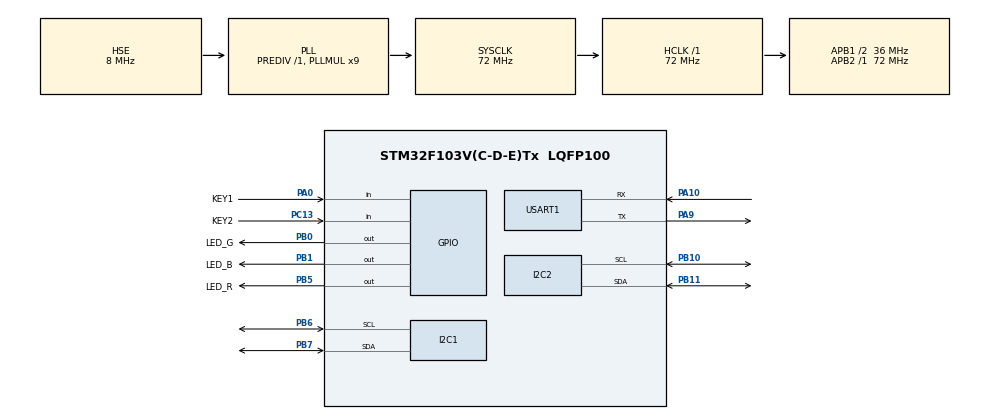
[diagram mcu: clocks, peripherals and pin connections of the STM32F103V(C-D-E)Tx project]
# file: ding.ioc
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Mcu.Family=STM32F1
Mcu.Name=STM32F103V(C-D-E)Tx
Mcu.Package=LQFP100
NVIC.PriorityGroup=NVIC_PRIORITYGROUP_4
NVIC.TIM2_IRQn=true\:0\:0\:false\:false\:true\:false\:true
NVIC.TIM3_IRQn=true\:2\:0\:true\:false\:true\:true\:true
NVIC.TimeBase=TIM2_IRQn
NVIC.TimeBaseIP=TIM2
NVIC.USART1_IRQn=true\:5\:0\:true\:false\:true\:true\:true
OSC_IN.Mode=HSE-External-Oscillator
OSC_IN.Signal=RCC_OSC_IN
OSC_OUT.Mode=HSE-External-Oscillator
OSC_OUT.Signal=RCC_OSC_OUT
PA0-WKUP.GPIO_Label=KEY1
PA0-WKUP.Signal=GPIO_Input
PA10.Mode=Asynchronous
PA10.Signal=USART1_RX
PA13.Mode=Serial_Wire
PA13.Signal=SYS_JTMS-SWDIO
PA14.Mode=Serial_Wire
PA14.Signal=SYS_JTCK-SWCLK
PA9.Mode=Asynchronous
PA9.Signal=USART1_TX
PB0.GPIO_Label=LED_G
PB0.GPIO_Speed=GPIO_SPEED_FREQ_HIGH
PB0.PinState=GPIO_PIN_SET
PB0.Signal=GPIO_Output
PB1.GPIO_Label=LED_B
PB1.GPIO_Speed=GPIO_SPEED_FREQ_HIGH
PB1.PinState=GPIO_PIN_SET
PB1.Signal=GPIO_Output
PB10.Mode=I2C
PB10.Signal=I2C2_SCL
PB11.Mode=I2C
PB11.Signal=I2C2_SDA
PB5.GPIO_Label=LED_R
PB5.GPIO_Speed=GPIO_SPEED_FREQ_HIGH
PB5.PinState=GPIO_PIN_SET
PB5.Signal=GPIO_Output
PB6.Mode=I2C
PB6.Signal=I2C1_SCL
PB7.Mode=I2C
PB7.Signal=I2C1_SDA
PC13-TAMPER-RTC.GPIO_Label=KEY2
PC13-TAMPER-RTC.Signal=GPIO_Input
ProjectManager.HeapSize=0x0
ProjectManager.StackSize=0x400
ProjectManager.TargetToolchain=MDK-ARM V5
RCC.AHBFreq_Value=72000000
RCC.APB1CLKDivider=RCC_HCLK_DIV2
RCC.APB1Freq_Value=36000000
RCC.APB1TimFreq_Value=72000000
RCC.APB2Freq_Value=72000000
RCC.APB2TimFreq_Value=72000000
RCC.HCLKFreq_Value=72000000
RCC.PLLMUL=RCC_PLL_MUL9
RCC.PLLSourceVirtual=RCC_PLLSOURCE_HSE
RCC.SYSCLKFreq_VALUE=72000000
RCC.SYSCLKSource=RCC_SYSCLKSOURCE_PLLCLK
RCC.USBFreq_Value=72000000
TIM3.AutoReloadPreload=TIM_AUTORELOAD_PRELOAD_ENABLE
TIM3.Period=99
TIM3.Prescaler=71
USART1.VirtualMode=VM_ASYNC
VP_SYS_VS_tim2.Mode=TIM2
VP_TIM3_VS_ClockSourceINT.Mode=Internal
board=custom

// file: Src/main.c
/* USER CODE BEGIN Header */
/**
  ******************************************************************************
  * @file           : main.c
  * @brief          : Main program body
  ******************************************************************************
  * @attention
  *
  * <h2><center>&copy; Copyright (c) 2020 STMicroelectronics.
  * All rights reserved.</center></h2>
  *
  * This software component is licensed by ST under BSD 3-Clause license,
  * the "License"; You may not use this file except in compliance with the
  * License. You may obtain a copy of the License at:
  *                        opensource.org/licenses/BSD-3-Clause
  *
  ******************************************************************************
  */
/* USER CODE END Header */

#include "main.h"
#include "i2c.h"
#include "tim.h"
#include "usart.h"
#include "gpio.h"

/* USER CODE BEGIN Includes */
#include "bsp_led.h"
#include "bsp_key.h"
#include "bsp_usart.h"

#include "FreeRTOS.h"
#include "task.h"

/* USER CODE END Includes */

/* USER CODE BEGIN PV */
__IO uint64_t time_counter = 0;

/* USER CODE END PV */

void SystemClock_Config(void);
/* USER CODE BEGIN PFP */
void start_task(void *pvParameters);
void led_task(void *pvParameters);
void print_task(void *pvParameters);
void run_time_task(void *pvParameters);

/* USER CODE END PFP */

/* USER CODE BEGIN 0 */
#define START_TASK_SIZE 128
#define START_TASK_PRIO 1
TaskHandle_t Start_Task_Handle;

#define LED_TASK_SIZE 128
#define LED_TASK_PRIO 2
TaskHandle_t led_task_Handle;

#define PRINT_TASK_SIZE 128
#define PRINT_TASK_PRIO 3
TaskHandle_t print_task_Handle;

#define RUNTIME_TASK_SIZE 256
#define RUNTIME_TASK_PRIO 4
TaskHandle_t runtime_task_Handle;

/* USER CODE END 0 */

int main(void)
{

  /* MCU Configuration--------------------------------------------------------*/

  /* Reset of all peripherals, Initializes the Flash interface and the Systick. */
  HAL_Init();

  /* Configure the system clock */
  SystemClock_Config();

  /* Initialize all configured peripherals */
  MX_GPIO_Init();
  MX_USART1_UART_Init();
  MX_I2C1_Init();
  MX_I2C2_Init();
  MX_TIM3_Init();
  /* USER CODE BEGIN 2 */

  // 创建开始任务
  xTaskCreate((TaskFunction_t)start_task,
              (char *)"start_task",
              (uint16_t)START_TASK_SIZE,
              (void *)NULL,
              (UBaseType_t)START_TASK_PRIO,
              (TaskHandle_t *)&Start_Task_Handle);

  vTaskStartScheduler(); // 开启调度器

  /* USER CODE END 2 */

  /* Infinite loop */
  while (1)
  {

  }
}

void SystemClock_Config(void)
{
  RCC_OscInitTypeDef RCC_OscInitStruct = {0};
  RCC_ClkInitTypeDef RCC_ClkInitStruct = {0};

  /** Initializes the CPU, AHB and APB busses clocks
  */
  RCC_OscInitStruct.OscillatorType = RCC_OSCILLATORTYPE_HSE;
  RCC_OscInitStruct.HSEState = RCC_HSE_ON;
  RCC_OscInitStruct.HSEPredivValue = RCC_HSE_PREDIV_DIV1;
  RCC_OscInitStruct.HSIState = RCC_HSI_ON;
  RCC_OscInitStruct.PLL.PLLState = RCC_PLL_ON;
  RCC_OscInitStruct.PLL.PLLSource = RCC_PLLSOURCE_HSE;
  RCC_OscInitStruct.PLL.PLLMUL = RCC_PLL_MUL9;
  if (HAL_RCC_OscConfig(&RCC_OscInitStruct) != HAL_OK)
  {
    Error_Handler();
  }
  /** Initializes the CPU, AHB and APB busses clocks
  */
  RCC_ClkInitStruct.ClockType = RCC_CLOCKTYPE_HCLK|RCC_CLOCKTYPE_SYSCLK
                              |RCC_CLOCKTYPE_PCLK1|RCC_CLOCKTYPE_PCLK2;
  RCC_ClkInitStruct.SYSCLKSource = RCC_SYSCLKSOURCE_PLLCLK;
  RCC_ClkInitStruct.AHBCLKDivider = RCC_SYSCLK_DIV1;
  RCC_ClkInitStruct.APB1CLKDivider = RCC_HCLK_DIV2;
  RCC_ClkInitStruct.APB2CLKDivider = RCC_HCLK_DIV1;

  if (HAL_RCC_ClockConfig(&RCC_ClkInitStruct, FLASH_LATENCY_2) != HAL_OK)
  {
    Error_Handler();
  }
}

/* USER CODE BEGIN 4 */

void start_task(void *pvParameters)
{
  // 创建led任务
  xTaskCreate((TaskFunction_t)led_task,
              (char *)"led_task",
              (uint16_t)LED_TASK_SIZE,
              (void *)NULL,
              (UBaseType_t)LED_TASK_PRIO,
              (TaskHandle_t *)&led_task_Handle);
  // 创建打印任务
  xTaskCreate((TaskFunction_t)print_task,
              (char *)"print_task",
              (uint16_t)PRINT_TASK_SIZE,
              (void *)NULL,
              (UBaseType_t)PRINT_TASK_PRIO,
              (TaskHandle_t *)&print_task_Handle);
  // 创建运行时间查询任务
  xTaskCreate((TaskFunction_t)run_time_task,
              (char *)"run_time_task",
              (uint16_t)RUNTIME_TASK_SIZE,
              (void *)NULL,
              (UBaseType_t)RUNTIME_TASK_PRIO,
              (TaskHandle_t *)&runtime_task_Handle);
  // 删除开始任务
  vTaskDelete(Start_Task_Handle);
}

void led_task(void *pvParameters)
{
  for (;;)
  {
    LED_G_TOGGLE;
    vTaskDelay(500);
  }
}

void print_task(void *pvParameters)
{
  for (;;)
  {
    printf("print_task run\n");
    vTaskDelay(500);
  }
}

void run_time_task(void *pvParameters)
{
  char *plist;
  for (;;)
  {
    /* 按键1被按下 */
    if (key_scan(KEY1_GPIO_Port, KEY1_Pin) == KEY_ON)
    {
      plist = pvPortMalloc(1024 * 2 * sizeof(char));  // 申请打印表格的内存
      if (plist != NULL)
      {
        vTaskGetRunTimeStats(plist);
        printf("\n**********任务运行时间打印**********\n");
        printf("%s\n", plist);
      }
      vPortFree(plist);
    }
    vTaskDelay(50);
  }
}

void system_time_base_config(void)
{
  MX_TIM3_Init();
  HAL_TIM_Base_Start_IT(&htim3);
  time_counter = 0;
}

/* USER CODE END 4 */

void HAL_TIM_PeriodElapsedCallback(TIM_HandleTypeDef *htim)
{
  if (htim->Instance == TIM2) {
    HAL_IncTick();
  }
}

void Error_Handler(void)
{
}

/************************ (C) COPYRIGHT STMicroelectronics *****END OF FILE****/
